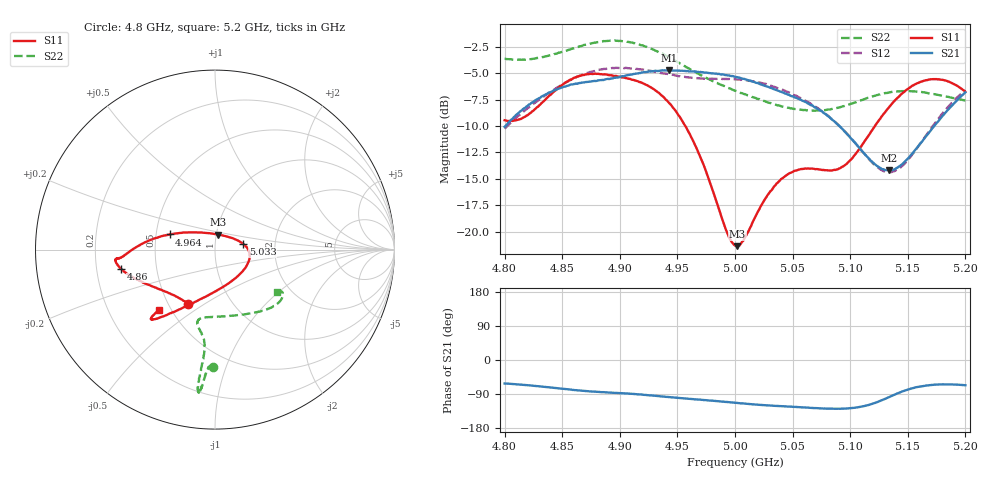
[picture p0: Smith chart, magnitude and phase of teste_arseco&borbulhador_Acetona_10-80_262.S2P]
! Network Analyzer HP8722D
! Hewlett-Packard
! Data name: Linha & Wilkinson
! Saver's name: Rodrigo Anjos
! Comments: Teste da utilização de aquisição
! continua pelo VNA HP8722D
! Time and date: 17/4/2025 16:32
!  Frequency  S11  S21  S12  S22
# HZ  S  MA R 50
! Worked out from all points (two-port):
!   401 points, 4.8 GHz to 5.2 GHz, reference 50 ohm
!   highest |S21| = -4.72 dB at 4.943 GHz (marker M1); lowest = -14.2 dB at 5.134 GHz (marker M2)
!   |S21| within 3 dB of the highest: 4.825 GHz to 5.061 GHz (235.9 MHz wide, 4.77 % of centre); 5.191361 GHz to end of sweep
!   lowest |S11| = -21.4 dB at 5.002 GHz (marker M3), VSWR 1.19, Z = 51.1 + j8.59 ohm
!   |S11| at or under -10 dB: 4.957 GHz to 5.122 GHz (164.7 MHz wide, 3.27 % of centre)
!   |S22| runs from -8.6 to -1.9 dB; largest |S21 - S12| = 0.87
!   S11 on the Smith chart (normalised r, x): 4.8 GHz: 0.63, -0.43; 4.86 GHz: 0.31, -0.09; 4.964 GHz: 0.59, +0.11; 5.033 GHz: 1.37, +0.09; 5.2 GHz: 0.43, -0.37
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4.8e9  0.3365 -116.5  0.3133 -62.1  0.3073 -176.4  0.6566 -91.0
4.818e9  0.3502 -135.7  0.3863 -66.1  0.3763 -175.9  0.6511 -92.6
4.86e9  0.5335 -168.2  0.4988 -79.0  0.5307 -179.3  0.7361 -95.0
4.867e9  0.5492 -170.9  0.5069 -81.0  0.5513 179.6  0.7562 -95.2
4.9e9  0.5396 -174.9  0.5384 -87.2  0.5942 173.5  0.7989 -96.8
4.934e9  0.4534 179.3  0.5761 -95.5  0.5685 170.1  0.7051 -96.9
4.943e9  0.4049 175.3  0.5805 -97.8  0.5546 170.3  0.6666 -96.6
4.964e9  0.2663 161.5  0.5726 -103.3  0.5342 172.2  0.5736 -96.0
4.975e9  0.1918 150.3  0.5659 -106.1  0.5291 173.3  0.5331 -96.3
4.993e9  0.09955 112.7  0.5495 -110.7  0.527 174.4  0.4817 -98.5
5e9  0.08606 86.4  0.5398 -112.9  0.5261 174.4  0.4643 -99.8
5.002e9  0.08539 78.0  0.5377 -113.4  0.524 174.6  0.461 -100.2
5.033e9  0.1609 11.2  0.4739 -120.7  0.4841 173.0  0.4014 -103.1
5.049e9  0.1906 -3.8  0.4372 -123.3  0.4497 172.5  0.3831 -98.8
5.067e9  0.1988 -23.2  0.3962 -126.5  0.3986 172.2  0.3739 -88.7
5.096e9  0.2079 -73.7  0.2947 -128.2  0.2955 174.8  0.395 -66.3
5.12e9  0.3076 -110.0  0.212 -114.8  0.2096 -169.9  0.4369 -50.2
5.134e9  0.3893 -121.1  0.1951 -97.5  0.191 -150.5  0.4562 -43.3
5.148e9  0.4649 -127.4  0.216 -80.1  0.2119 -130.3  0.4629 -38.1
5.168e9  0.5237 -131.9  0.2921 -66.9  0.296 -113.1  0.451 -33.3
5.184e9  0.5156 -133.1  0.3727 -64.4  0.3846 -108.6  0.435 -32.2
5.2e9  0.4583 -133.0  0.4561 -66.7  0.4666 -108.7  0.417 -34.7
